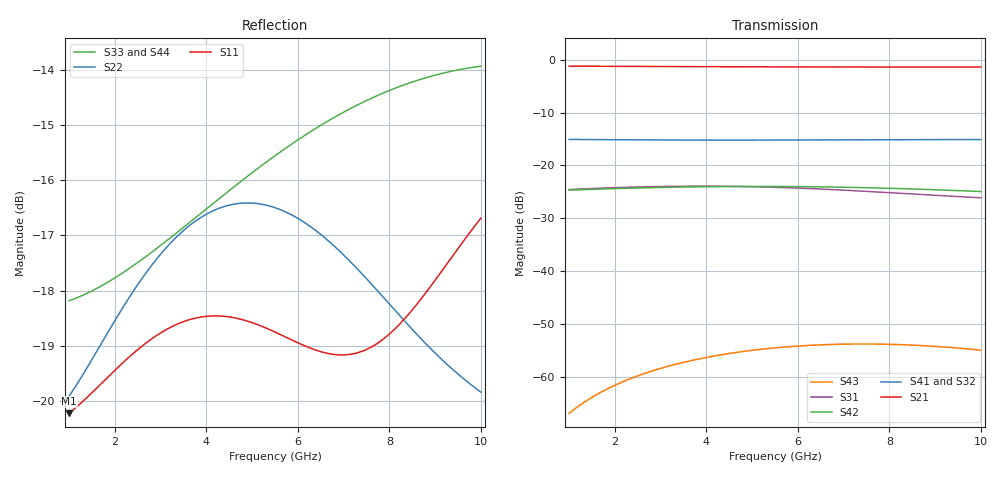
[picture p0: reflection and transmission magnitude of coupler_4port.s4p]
! Simulation of a 4-port directional coupler
! P1 and P2 are the thru ports, P3 is coupled to P2, P4 is coupled to P1
# hz S ma R 50
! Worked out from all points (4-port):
!   301 points, 1 GHz to 10 GHz, reference 50 ohm
!   strongest paths, dB at 1 GHz, 3.25 GHz, 5.5 GHz, 7.75 GHz, 10 GHz:
!     S21: -1.2, -1.3, -1.4, -1.4, -1.4
!     S41: -15.1, -15.2, -15.2, -15.1, -15.1
!     S32: -15.1, -15.2, -15.3, -15.2, -15.2
!     S42: -24.7, -24.1, -24.0, -24.3, -24.9
!     S31: -24.5, -23.9, -24.1, -25.0, -26.1
!     S43: -66.9, -57.8, -54.5, -53.8, -54.9
!   lowest |S11| = -20.2 dB at 1 GHz (marker M1), VSWR 1.22, Z = 58 - j6.85 ohm
!   |S11| at or under -10 dB: start of sweep to end of sweep
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1e9  0.09751 -36.9  0.8694 -21.8  0.05924 -19.7  0.1763 73.0
     0.8694 -21.8  0.1011 -43.1  0.1765 69.5  0.05847 -22.2
     0.05924 -19.7  0.1765 69.5  0.1233 -20.0  0.0004533 -54.1
     0.1763 73.0  0.05847 -22.2  0.0004533 -54.1  0.1229 -18.5
3.04e9  0.1156 -97.0  0.8628 -66.2  0.06334 -59.8  0.1742 38.4
        0.8628 -66.2  0.1365 -109.4  0.1741 27.7  0.06205 -66.2
        0.06334 -59.8  0.1741 27.7  0.1388 -58.0  0.001219 -93.4
        0.1742 38.4  0.06205 -66.2  0.001219 -93.4  0.1363 -53.8
4.9e9  0.1182 -133.0  0.8565 -106.3  0.0631 -97.5  0.1738 7.2
       0.8565 -106.3  0.1512 -151.8  0.1727 -10.0  0.06335 -107.5
       0.0631 -97.5  0.1727 -10.0  0.1598 -87.9  0.001765 -141.6
       0.1738 7.2  0.06335 -107.5  0.001765 -141.6  0.1553 -81.9
6.37e9  0.1113 -148.7  0.8538 -138.1  0.06023 -126.7  0.1745 -17.8
        0.8538 -138.1  0.1429 -177.8  0.1726 -39.8  0.06289 -140.3
        0.06023 -126.7  0.1726 -39.8  0.1763 -108.9  0.002002 179.3
        0.1745 -17.8  0.06289 -140.3  0.002002 179.3  0.1714 -101.6
7.6e9  0.1119 -154.4  0.8529 -164.7  0.05657 -149.8  0.1753 -39.0
       0.8529 -164.7  0.1277 165.1  0.1731 -64.9  0.06151 -167.5
       0.05657 -149.8  0.1731 -64.9  0.1879 -125.0  0.00205 146.9
       0.1753 -39.0  0.06151 -167.5  0.00205 146.9  0.1838 -116.7
8.77e9  0.1249 -159.9  0.8527 169.9  0.05279 -170.0  0.1758 -59.3
        0.8527 169.9  0.113 152.5  0.1739 -89.0  0.05944 166.9
        0.05279 -170.0  0.1739 -89.0  0.1961 -139.4  0.001974 116.8
        0.1758 -59.3  0.05944 166.9  0.001974 116.8  0.1938 -130.4
1e10  0.1464 -171.4  0.8531 143.1  0.04956 171.0  0.1758 -80.9
      0.8531 143.1  0.1019 140.4  0.1748 -114.5  0.05672 140.8
      0.04956 171.0  0.1748 -114.5  0.201 -153.8  0.001793 86.5
      0.1758 -80.9  0.05672 140.8  0.001793 86.5  0.2016 -144.1
